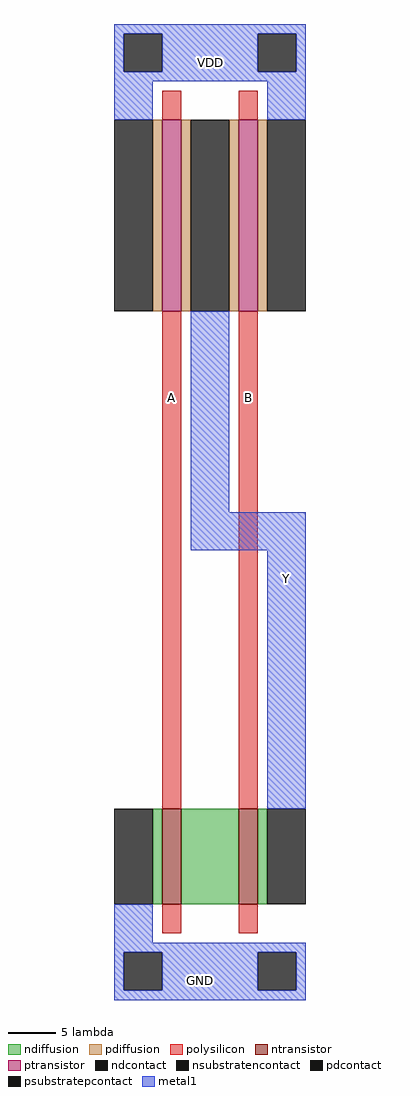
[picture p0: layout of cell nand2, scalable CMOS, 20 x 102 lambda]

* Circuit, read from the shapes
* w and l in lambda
.subckt nand2 A B GND VDD Y
M1 n1 A GND GND nfet w=10 l=2
M2 Y B n1 GND nfet w=10 l=2
M3 Y A VDD VDD pfet w=20 l=2
M4 VDD B Y VDD pfet w=20 l=2
.ends

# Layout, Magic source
magic
tech scmos
<< ntransistor >>
rect -5 -41 -3 -31
rect 3 -41 5 -31
<< ptransistor >>
rect -5 21 -3 41
rect 3 21 5 41
<< ndiffusion >>
rect -6 -41 -5 -31
rect -3 -41 3 -31
rect 5 -41 6 -31
<< pdiffusion >>
rect -6 21 -5 41
rect -3 21 -2 41
rect 2 21 3 41
rect 5 21 6 41
<< ndcontact >>
rect -10 -41 -6 -31
rect 6 -41 10 -31
<< pdcontact >>
rect -10 21 -6 41
rect -2 21 2 41
rect 6 21 10 41
<< psubstratepcontact >>
rect -9 -50 -5 -46
rect 5 -50 9 -46
<< nsubstratencontact >>
rect -9 46 -5 50
rect 5 46 9 50
<< polysilicon >>
rect -5 41 -3 44
rect 3 41 5 44
rect -5 -31 -3 21
rect 3 -31 5 21
rect -5 -44 -3 -41
rect 3 -44 5 -41
<< metal1 >>
rect -10 50 10 51
rect -10 46 -9 50
rect -5 46 5 50
rect 9 46 10 50
rect -10 45 10 46
rect -10 41 -6 45
rect 6 41 10 45
rect -2 0 2 21
rect -2 -4 10 0
rect 6 -31 10 -4
rect -10 -45 -6 -41
rect -10 -46 10 -45
rect -10 -50 -9 -46
rect -5 -50 5 -46
rect 9 -50 10 -46
rect -10 -51 10 -50
<< labels >>
rlabel metal1 8 -7 8 -7 7 Y
rlabel metal1 -1 -49 -1 -49 1 GND
rlabel metal1 0 47 0 47 5 VDD
rlabel polysilicon -4 12 -4 12 1 A
rlabel polysilicon 4 12 4 12 1 B
<< end >>
